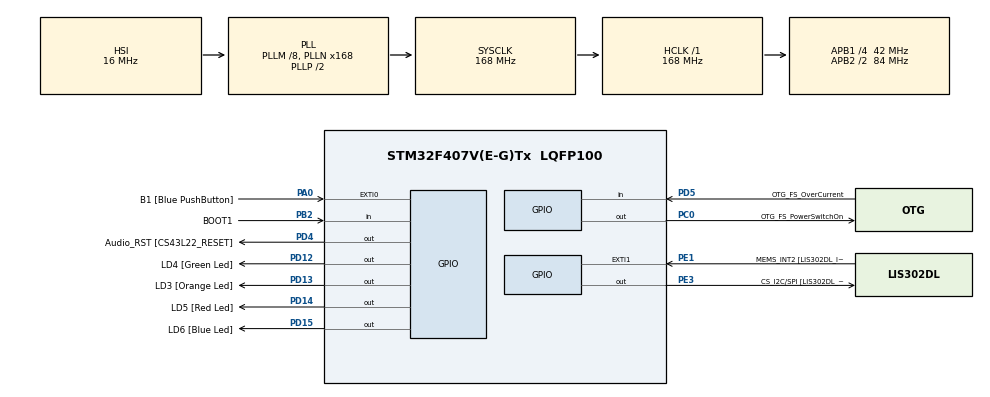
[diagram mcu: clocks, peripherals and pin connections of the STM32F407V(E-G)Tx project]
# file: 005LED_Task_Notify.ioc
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Mcu.Family=STM32F4
Mcu.Name=STM32F407V(E-G)Tx
Mcu.Package=LQFP100
NVIC.PriorityGroup=NVIC_PRIORITYGROUP_4
NVIC.TIM6_DAC_IRQn=true\:0\:0\:false\:false\:true\:false\:true\:true
NVIC.TimeBase=TIM6_DAC_IRQn
NVIC.TimeBaseIP=TIM6
PA0-WKUP.GPIO_Label=B1 [Blue PushButton]
PA0-WKUP.Signal=GPXTI0
PA10.GPIO_Label=OTG_FS_ID
PA10.GPIO_Mode=GPIO_MODE_AF_PP
PA10.GPIO_PuPd=GPIO_NOPULL
PA10.GPIO_Speed=GPIO_SPEED_FREQ_LOW
PA10.Signal=USB_OTG_FS_ID
PA11.GPIO_Label=OTG_FS_DM
PA11.GPIO_Mode=GPIO_MODE_AF_PP
PA11.GPIO_PuPd=GPIO_NOPULL
PA11.GPIO_Speed=GPIO_SPEED_FREQ_LOW
PA11.Signal=USB_OTG_FS_DM
PA12.GPIO_Label=OTG_FS_DP
PA12.GPIO_Mode=GPIO_MODE_AF_PP
PA12.GPIO_PuPd=GPIO_NOPULL
PA12.GPIO_Speed=GPIO_SPEED_FREQ_LOW
PA12.Signal=USB_OTG_FS_DP
PA13.GPIO_Label=SWDIO
PA13.Signal=SYS_JTMS-SWDIO
PA14.GPIO_Label=SWCLK
PA14.Signal=SYS_JTCK-SWCLK
PA4.GPIO_Label=I2S3_WS [CS43L22_LRCK]
PA4.GPIO_Mode=GPIO_MODE_AF_PP
PA4.GPIO_PuPd=GPIO_NOPULL
PA4.GPIO_Speed=GPIO_SPEED_FREQ_LOW
PA4.Signal=I2S3_WS
PA5.GPIO_Label=SPI1_SCK [LIS302DL_SCL/SPC]
PA5.GPIO_Mode=GPIO_MODE_AF_PP
PA5.GPIO_PuPd=GPIO_NOPULL
PA5.GPIO_Speed=GPIO_SPEED_FREQ_LOW
PA5.Signal=SPI1_SCK
PA6.GPIO_Label=SPI1_MISO [LIS302DL_SDO]
PA6.GPIO_Mode=GPIO_MODE_AF_PP
PA6.GPIO_PuPd=GPIO_NOPULL
PA6.GPIO_Speed=GPIO_SPEED_FREQ_LOW
PA6.Signal=SPI1_MISO
PA7.GPIO_Label=SPI1_MOSI [LIS302DL_SDA/SDI/SDO]
PA7.GPIO_Mode=GPIO_MODE_AF_PP
PA7.GPIO_PuPd=GPIO_NOPULL
PA7.GPIO_Speed=GPIO_SPEED_FREQ_LOW
PA7.Signal=SPI1_MOSI
PA9.GPIO_Label=VBUS_FS
PA9.GPIO_Mode=GPIO_MODE_INPUT
PA9.GPIO_PuPd=GPIO_NOPULL
PA9.Signal=USB_OTG_FS_VBUS
PB10.GPIO_Label=CLK_IN [MP45DT02_CLK]
PB10.GPIO_Mode=GPIO_MODE_AF_PP
PB10.GPIO_PuPd=GPIO_NOPULL
PB10.GPIO_Speed=GPIO_SPEED_FREQ_LOW
PB10.Signal=I2S2_CK
PB2.GPIO_Label=BOOT1
PB2.GPIO_Mode=GPIO_MODE_INPUT
PB2.GPIO_PuPd=GPIO_NOPULL
PB2.Signal=GPIO_Input
PB3.GPIO_Label=SWO
PB3.Signal=SYS_JTDO-SWO
PB6.GPIO_Label=Audio_SCL [CS43L22_SCL]
PB6.GPIO_Mode=GPIO_MODE_AF_OD
PB6.GPIO_PuPd=GPIO_NOPULL
PB6.GPIO_Speed=GPIO_SPEED_FREQ_LOW
PB6.Signal=I2C1_SCL
PB9.GPIO_Label=Audio_SDA [CS43L22_SDA]
PB9.GPIO_Mode=GPIO_MODE_AF_OD
PB9.GPIO_PuPd=GPIO_NOPULL
PB9.GPIO_Speed=GPIO_SPEED_FREQ_LOW
PB9.Signal=I2C1_SDA
PC0.GPIO_Label=OTG_FS_PowerSwitchOn
PC0.GPIO_PuPd=GPIO_NOPULL
PC0.GPIO_Speed=GPIO_SPEED_FREQ_LOW
PC0.PinState=GPIO_PIN_SET
PC0.Signal=GPIO_Output
PC10.GPIO_Label=I2S3_SCK [CS43L22_SCLK]
PC10.GPIO_Mode=GPIO_MODE_AF_PP
PC10.GPIO_PuPd=GPIO_NOPULL
PC10.GPIO_Speed=GPIO_SPEED_FREQ_LOW
PC10.Signal=I2S3_CK
PC12.GPIO_Label=I2S3_SD [CS43L22_SDIN]
PC12.GPIO_Mode=GPIO_MODE_AF_PP
PC12.GPIO_PuPd=GPIO_NOPULL
PC12.GPIO_Speed=GPIO_SPEED_FREQ_LOW
PC12.Signal=I2S3_SD
PC14-OSC32_IN.GPIO_Label=PC14-OSC32_IN
PC14-OSC32_IN.Signal=RCC_OSC32_IN
PC15-OSC32_OUT.GPIO_Label=PC15-OSC32_OUT
PC15-OSC32_OUT.Signal=RCC_OSC32_OUT
PC3.GPIO_Label=PDM_OUT [MP45DT02_DOUT]
PC3.GPIO_Mode=GPIO_MODE_AF_PP
PC3.GPIO_PuPd=GPIO_NOPULL
PC3.GPIO_Speed=GPIO_SPEED_FREQ_LOW
PC3.Signal=I2S2_SD
PC7.GPIO_Label=I2S3_MCK [CS43L22_MCLK]
PC7.GPIO_Mode=GPIO_MODE_AF_PP
PC7.GPIO_PuPd=GPIO_NOPULL
PC7.GPIO_Speed=GPIO_SPEED_FREQ_LOW
PC7.Signal=I2S3_MCK
PD12.GPIO_Label=LD4 [Green Led]
PD12.GPIO_PuPd=GPIO_NOPULL
PD12.GPIO_Speed=GPIO_SPEED_FREQ_LOW
PD12.Signal=GPIO_Output
PD13.GPIO_Label=LD3 [Orange Led]
PD13.GPIO_PuPd=GPIO_NOPULL
PD13.GPIO_Speed=GPIO_SPEED_FREQ_LOW
PD13.Signal=GPIO_Output
PD14.GPIO_Label=LD5 [Red Led]
PD14.GPIO_PuPd=GPIO_NOPULL
PD14.GPIO_Speed=GPIO_SPEED_FREQ_LOW
PD14.Signal=GPIO_Output
PD15.GPIO_Label=LD6 [Blue Led]
PD15.GPIO_PuPd=GPIO_NOPULL
PD15.GPIO_Speed=GPIO_SPEED_FREQ_LOW
PD15.Signal=GPIO_Output
PD4.GPIO_Label=Audio_RST [CS43L22_RESET]
PD4.GPIO_PuPd=GPIO_NOPULL
PD4.GPIO_Speed=GPIO_SPEED_FREQ_LOW
PD4.Signal=GPIO_Output
PD5.GPIO_Label=OTG_FS_OverCurrent
PD5.GPIO_Mode=GPIO_MODE_INPUT
PD5.GPIO_PuPd=GPIO_NOPULL
PD5.Signal=GPIO_Input
PE1.GPIO_Label=MEMS_INT2 [LIS302DL_INT2]
PE1.GPIO_ModeDefaultEXTI=GPIO_MODE_EVT_RISING
PE1.GPIO_PuPd=GPIO_NOPULL
PE1.Signal=GPXTI1
PE3.GPIO_Label=CS_I2C/SPI [LIS302DL_CS_I2C/SPI]
PE3.GPIO_PuPd=GPIO_NOPULL
PE3.GPIO_Speed=GPIO_SPEED_FREQ_LOW
PE3.Signal=GPIO_Output
PH0-OSC_IN.GPIO_Label=PH0-OSC_IN
PH0-OSC_IN.Signal=RCC_OSC_IN
PH1-OSC_OUT.GPIO_Label=PH1-OSC_OUT
PH1-OSC_OUT.Signal=RCC_OSC_OUT
ProjectManager.HeapSize=0x200
ProjectManager.StackSize=0x400
ProjectManager.TargetToolchain=STM32CubeIDE
RCC.48MHZClocksFreq_Value=48000000
RCC.AHBFreq_Value=168000000
RCC.APB1CLKDivider=RCC_HCLK_DIV4
RCC.APB1Freq_Value=42000000
RCC.APB1TimFreq_Value=84000000
RCC.APB2CLKDivider=RCC_HCLK_DIV2
RCC.APB2Freq_Value=84000000
RCC.APB2TimFreq_Value=168000000
RCC.CortexFreq_Value=168000000
RCC.HCLKFreq_Value=168000000
RCC.HSE_VALUE=8000000
RCC.HSI_VALUE=16000000
RCC.LSE_VALUE=32768
RCC.PLLM=8
RCC.PLLN=168
RCC.PLLQ=7
RCC.SYSCLKFreq_VALUE=168000000
RCC.SYSCLKSource=RCC_SYSCLKSOURCE_PLLCLK
RCC.VCOOutputFreq_Value=336000000
VP_SYS_VS_tim6.Mode=TIM6
board=STM32F407G-DISC1

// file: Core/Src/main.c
/* USER CODE BEGIN Header */
/**
  ******************************************************************************
  * @file           : main.c
  * @brief          : Main program body
  ******************************************************************************
  * @attention
  *
  * <h2><center>&copy; Copyright (c) 2021 STMicroelectronics.
  * All rights reserved.</center></h2>
  *
  * This software component is licensed by ST under BSD 3-Clause license,
  * the "License"; You may not use this file except in compliance with the
  * License. You may obtain a copy of the License at:
  *                        opensource.org/licenses/BSD-3-Clause
  *
  ******************************************************************************
  */
/* USER CODE END Header */

#include "main.h"

/* USER CODE BEGIN Includes */

#include "FreeRTOS.h"
#include "task.h"

/* USER CODE END Includes */

/* USER CODE BEGIN PV */

#define DWT_CTRL    (*(volatile uint32_t*)0xE0001000)

/* USER CODE END PV */

void SystemClock_Config(void);
static void MX_GPIO_Init(void);
/* USER CODE BEGIN PFP */

static void led_green_handler(void* parameters);
static void led_orange_handler(void* parameters);
static void led_red_handler(void* parameters);
static void button_handler(void* parameters);

extern void SEGGER_UART_init(uint32_t);

TaskHandle_t ledg_task_handle;
TaskHandle_t ledo_task_handle;
TaskHandle_t ledr_task_handle;
TaskHandle_t btn_task_handle;

TaskHandle_t volatile next_task_handle = NULL;

/* USER CODE END PFP */

int main(void)
{
  /* USER CODE BEGIN 1 */

	BaseType_t status;

  /* USER CODE END 1 */

  /* MCU Configuration--------------------------------------------------------*/

  /* Reset of all peripherals, Initializes the Flash interface and the Systick. */

	HAL_Init();

  /* Configure the system clock */
  SystemClock_Config();

  /* Initialize all configured peripherals */
  MX_GPIO_Init();
  /* USER CODE BEGIN 2 */

//  SEGGER_UART_init(500000);

  //CYCLCNT enable
  DWT_CTRL |= ( 1 << 0);

//  SEGGER_SYSVIEW_Conf();

  status = xTaskCreate(led_green_handler, "LED_green_task", 200, NULL, 3, &ledg_task_handle);

  configASSERT(status == pdPASS);

  next_task_handle = ledg_task_handle;

  status = xTaskCreate(led_orange_handler, "LED_orange_task", 200, NULL, 2, &ledo_task_handle);

   configASSERT(status == pdPASS);

  status = xTaskCreate(led_red_handler, "LED_red_task", 200,NULL, 1, &ledr_task_handle);

  configASSERT(status == pdPASS);

  status = xTaskCreate(button_handler, "Button Task", 200, NULL, 4, &btn_task_handle);

  configASSERT(status == pdPASS);

  //start the freeRTOS scheduler
  vTaskStartScheduler();

  /* USER CODE END 2 */

  /* Infinite loop */
  while (1)
  {

  }
}

void SystemClock_Config(void)
{
  RCC_OscInitTypeDef RCC_OscInitStruct = {0};
  RCC_ClkInitTypeDef RCC_ClkInitStruct = {0};

  /** Configure the main internal regulator output voltage
  */
  __HAL_RCC_PWR_CLK_ENABLE();
  __HAL_PWR_VOLTAGESCALING_CONFIG(PWR_REGULATOR_VOLTAGE_SCALE1);
  /** Initializes the CPU, AHB and APB busses clocks
  */
  RCC_OscInitStruct.OscillatorType = RCC_OSCILLATORTYPE_HSI;
  RCC_OscInitStruct.HSIState = RCC_HSI_ON;
  RCC_OscInitStruct.HSICalibrationValue = RCC_HSICALIBRATION_DEFAULT;
  RCC_OscInitStruct.PLL.PLLState = RCC_PLL_ON;
  RCC_OscInitStruct.PLL.PLLSource = RCC_PLLSOURCE_HSI;
  RCC_OscInitStruct.PLL.PLLM = 8;
  RCC_OscInitStruct.PLL.PLLN = 168;
  RCC_OscInitStruct.PLL.PLLP = RCC_PLLP_DIV2;
  RCC_OscInitStruct.PLL.PLLQ = 7;
  if (HAL_RCC_OscConfig(&RCC_OscInitStruct) != HAL_OK)
  {
    Error_Handler();
  }
  /** Initializes the CPU, AHB and APB busses clocks
  */
  RCC_ClkInitStruct.ClockType = RCC_CLOCKTYPE_HCLK|RCC_CLOCKTYPE_SYSCLK
                              |RCC_CLOCKTYPE_PCLK1|RCC_CLOCKTYPE_PCLK2;
  RCC_ClkInitStruct.SYSCLKSource = RCC_SYSCLKSOURCE_PLLCLK;
  RCC_ClkInitStruct.AHBCLKDivider = RCC_SYSCLK_DIV1;
  RCC_ClkInitStruct.APB1CLKDivider = RCC_HCLK_DIV4;
  RCC_ClkInitStruct.APB2CLKDivider = RCC_HCLK_DIV2;

  if (HAL_RCC_ClockConfig(&RCC_ClkInitStruct, FLASH_LATENCY_5) != HAL_OK)
  {
    Error_Handler();
  }
}

static void MX_GPIO_Init(void)
{
  GPIO_InitTypeDef GPIO_InitStruct = {0};

  /* GPIO Ports Clock Enable */
  __HAL_RCC_GPIOE_CLK_ENABLE();
  __HAL_RCC_GPIOC_CLK_ENABLE();
  __HAL_RCC_GPIOH_CLK_ENABLE();
  __HAL_RCC_GPIOA_CLK_ENABLE();
  __HAL_RCC_GPIOB_CLK_ENABLE();
  __HAL_RCC_GPIOD_CLK_ENABLE();

  /*Configure GPIO pin Output Level */
  HAL_GPIO_WritePin(CS_I2C_SPI_GPIO_Port, CS_I2C_SPI_Pin, GPIO_PIN_RESET);

  /*Configure GPIO pin Output Level */
  HAL_GPIO_WritePin(OTG_FS_PowerSwitchOn_GPIO_Port, OTG_FS_PowerSwitchOn_Pin, GPIO_PIN_SET);

  /*Configure GPIO pin Output Level */
  HAL_GPIO_WritePin(GPIOD, LD4_Pin|LD3_Pin|LD5_Pin|LD6_Pin
                          |Audio_RST_Pin, GPIO_PIN_RESET);

  /*Configure GPIO pin : CS_I2C_SPI_Pin */
  GPIO_InitStruct.Pin = CS_I2C_SPI_Pin;
  GPIO_InitStruct.Mode = GPIO_MODE_OUTPUT_PP;
  GPIO_InitStruct.Pull = GPIO_NOPULL;
  GPIO_InitStruct.Speed = GPIO_SPEED_FREQ_LOW;
  HAL_GPIO_Init(CS_I2C_SPI_GPIO_Port, &GPIO_InitStruct);

  /*Configure GPIO pin : OTG_FS_PowerSwitchOn_Pin */
  GPIO_InitStruct.Pin = OTG_FS_PowerSwitchOn_Pin;
  GPIO_InitStruct.Mode = GPIO_MODE_OUTPUT_PP;
  GPIO_InitStruct.Pull = GPIO_NOPULL;
  GPIO_InitStruct.Speed = GPIO_SPEED_FREQ_LOW;
  HAL_GPIO_Init(OTG_FS_PowerSwitchOn_GPIO_Port, &GPIO_InitStruct);

  /*Configure GPIO pin : PDM_OUT_Pin */
  GPIO_InitStruct.Pin = PDM_OUT_Pin;
  GPIO_InitStruct.Mode = GPIO_MODE_AF_PP;
  GPIO_InitStruct.Pull = GPIO_NOPULL;
  GPIO_InitStruct.Speed = GPIO_SPEED_FREQ_LOW;
  GPIO_InitStruct.Alternate = GPIO_AF5_SPI2;
  HAL_GPIO_Init(PDM_OUT_GPIO_Port, &GPIO_InitStruct);

  /*Configure GPIO pin : B1_Pin */
  GPIO_InitStruct.Pin = B1_Pin;
  GPIO_InitStruct.Mode = GPIO_MODE_IT_FALLING;
  GPIO_InitStruct.Pull = GPIO_NOPULL;
  HAL_GPIO_Init(B1_GPIO_Port, &GPIO_InitStruct);

  /*Configure GPIO pin : I2S3_WS_Pin */
  GPIO_InitStruct.Pin = I2S3_WS_Pin;
  GPIO_InitStruct.Mode = GPIO_MODE_AF_PP;
  GPIO_InitStruct.Pull = GPIO_NOPULL;
  GPIO_InitStruct.Speed = GPIO_SPEED_FREQ_LOW;
  GPIO_InitStruct.Alternate = GPIO_AF6_SPI3;
  HAL_GPIO_Init(I2S3_WS_GPIO_Port, &GPIO_InitStruct);

  /*Configure GPIO pins : SPI1_SCK_Pin SPI1_MISO_Pin SPI1_MOSI_Pin */
  GPIO_InitStruct.Pin = SPI1_SCK_Pin|SPI1_MISO_Pin|SPI1_MOSI_Pin;
  GPIO_InitStruct.Mode = GPIO_MODE_AF_PP;
  GPIO_InitStruct.Pull = GPIO_NOPULL;
  GPIO_InitStruct.Speed = GPIO_SPEED_FREQ_LOW;
  GPIO_InitStruct.Alternate = GPIO_AF5_SPI1;
  HAL_GPIO_Init(GPIOA, &GPIO_InitStruct);

  /*Configure GPIO pin : BOOT1_Pin */
  GPIO_InitStruct.Pin = BOOT1_Pin;
  GPIO_InitStruct.Mode = GPIO_MODE_INPUT;
  GPIO_InitStruct.Pull = GPIO_NOPULL;
  HAL_GPIO_Init(BOOT1_GPIO_Port, &GPIO_InitStruct);

  /*Configure GPIO pin : CLK_IN_Pin */
  GPIO_InitStruct.Pin = CLK_IN_Pin;
  GPIO_InitStruct.Mode = GPIO_MODE_AF_PP;
  GPIO_InitStruct.Pull = GPIO_NOPULL;
  GPIO_InitStruct.Speed = GPIO_SPEED_FREQ_LOW;
  GPIO_InitStruct.Alternate = GPIO_AF5_SPI2;
  HAL_GPIO_Init(CLK_IN_GPIO_Port, &GPIO_InitStruct);

  /*Configure GPIO pins : LD4_Pin LD3_Pin LD5_Pin LD6_Pin
                           Audio_RST_Pin */
  GPIO_InitStruct.Pin = LD4_Pin|LD3_Pin|LD5_Pin|LD6_Pin
                          |Audio_RST_Pin;
  GPIO_InitStruct.Mode = GPIO_MODE_OUTPUT_PP;
  GPIO_InitStruct.Pull = GPIO_NOPULL;
  GPIO_InitStruct.Speed = GPIO_SPEED_FREQ_LOW;
  HAL_GPIO_Init(GPIOD, &GPIO_InitStruct);

  /*Configure GPIO pins : I2S3_MCK_Pin I2S3_SCK_Pin I2S3_SD_Pin */
  GPIO_InitStruct.Pin = I2S3_MCK_Pin|I2S3_SCK_Pin|I2S3_SD_Pin;
  GPIO_InitStruct.Mode = GPIO_MODE_AF_PP;
  GPIO_InitStruct.Pull = GPIO_NOPULL;
  GPIO_InitStruct.Speed = GPIO_SPEED_FREQ_LOW;
  GPIO_InitStruct.Alternate = GPIO_AF6_SPI3;
  HAL_GPIO_Init(GPIOC, &GPIO_InitStruct);

  /*Configure GPIO pin : VBUS_FS_Pin */
  GPIO_InitStruct.Pin = VBUS_FS_Pin;
  GPIO_InitStruct.Mode = GPIO_MODE_INPUT;
  GPIO_InitStruct.Pull = GPIO_NOPULL;
  HAL_GPIO_Init(VBUS_FS_GPIO_Port, &GPIO_InitStruct);

  /*Configure GPIO pins : OTG_FS_ID_Pin OTG_FS_DM_Pin OTG_FS_DP_Pin */
  GPIO_InitStruct.Pin = OTG_FS_ID_Pin|OTG_FS_DM_Pin|OTG_FS_DP_Pin;
  GPIO_InitStruct.Mode = GPIO_MODE_AF_PP;
  GPIO_InitStruct.Pull = GPIO_NOPULL;
  GPIO_InitStruct.Speed = GPIO_SPEED_FREQ_LOW;
  GPIO_InitStruct.Alternate = GPIO_AF10_OTG_FS;
  HAL_GPIO_Init(GPIOA, &GPIO_InitStruct);

  /*Configure GPIO pin : OTG_FS_OverCurrent_Pin */
  GPIO_InitStruct.Pin = OTG_FS_OverCurrent_Pin;
  GPIO_InitStruct.Mode = GPIO_MODE_INPUT;
  GPIO_InitStruct.Pull = GPIO_NOPULL;
  HAL_GPIO_Init(OTG_FS_OverCurrent_GPIO_Port, &GPIO_InitStruct);

  /*Configure GPIO pins : Audio_SCL_Pin Audio_SDA_Pin */
  GPIO_InitStruct.Pin = Audio_SCL_Pin|Audio_SDA_Pin;
  GPIO_InitStruct.Mode = GPIO_MODE_AF_OD;
  GPIO_InitStruct.Pull = GPIO_PULLUP;
  GPIO_InitStruct.Speed = GPIO_SPEED_FREQ_LOW;
  GPIO_InitStruct.Alternate = GPIO_AF4_I2C1;
  HAL_GPIO_Init(GPIOB, &GPIO_InitStruct);

  /*Configure GPIO pin : MEMS_INT2_Pin */
  GPIO_InitStruct.Pin = MEMS_INT2_Pin;
  GPIO_InitStruct.Mode = GPIO_MODE_EVT_RISING;
  GPIO_InitStruct.Pull = GPIO_NOPULL;
  HAL_GPIO_Init(MEMS_INT2_GPIO_Port, &GPIO_InitStruct);

}

/* USER CODE BEGIN 4 */

static void led_green_handler(void* parameters)
{
	BaseType_t  status;
	while(1)
	{
		printf("Toggling green LED");
		HAL_GPIO_TogglePin(GPIOD, LED_GREEN_PIN);
		status = xTaskNotifyWait(0,0,NULL,pdMS_TO_TICKS(1000));
		if(status == pdTRUE)
		{
			/*
			 * scheduler stops since next_task_handle can not be acessed
			 * vy the other tasks
			 *
			 */
			vTaskSuspendAll();
			next_task_handle = ledo_task_handle;
			/** now scheduler can continues*/
			xTaskResumeAll();
			HAL_GPIO_WritePin(GPIOD, LED_GREEN_PIN,GPIO_PIN_SET);
			printf("Delete green LED task");
			vTaskDelete(NULL);
		}

	}
}

static void led_orange_handler(void* parameters)
{
	BaseType_t  status;

	while(1)
	{
		printf("Toggling orange LED");
		HAL_GPIO_TogglePin(GPIOD, LED_ORANGE_PIN );
		status = xTaskNotifyWait(0,0,NULL,pdMS_TO_TICKS(800));
		if(status == pdTRUE){
			vTaskSuspendAll();
			next_task_handle = ledr_task_handle;
			xTaskResumeAll();
			HAL_GPIO_WritePin(GPIOD, LED_ORANGE_PIN,GPIO_PIN_SET);
			printf("Delete orange LED task");
			vTaskDelete(NULL);
		}

	}
}

static void led_red_handler(void* parameters)
{
	BaseType_t  status;

	while(1)
	{
		printf("Toggling red LED");
		HAL_GPIO_TogglePin(GPIOD, LED_RED_PIN);
		status = xTaskNotifyWait(0,0,NULL,pdMS_TO_TICKS(400));
		/*
		 * if notification is received, status will be true
		 */
		if(status == pdTRUE){
			vTaskSuspendAll();
			next_task_handle = NULL;
			xTaskResumeAll();
			HAL_GPIO_WritePin(GPIOD, LED_RED_PIN,GPIO_PIN_SET);
			printf("Delete red LED task");
			vTaskDelete(btn_task_handle);
			vTaskDelete(NULL);
		}

	}

}

static void button_handler(void* parameters)
{
	uint8_t btn_read = 0;
	uint8_t prev_read = 0;

	while(1){

		btn_read = HAL_GPIO_ReadPin(GPIOA, GPIO_PIN_0);

		if(btn_read)
		{
			if(! prev_read)
			{
				/* this event only notifies, notification value is not used
				 * therefore, it can be given as 0.
				*/
				xTaskNotify(next_task_handle,0,eNoAction);
			}
		}
		prev_read = btn_read;
		vTaskDelay(pdMS_TO_TICKS(10));

	}

}
/* USER CODE END 4 */

void HAL_TIM_PeriodElapsedCallback(TIM_HandleTypeDef *htim)
{
  if (htim->Instance == TIM6) {
    HAL_IncTick();
  }
}

void Error_Handler(void)
{
}

/************************ (C) COPYRIGHT STMicroelectronics *****END OF FILE****/
